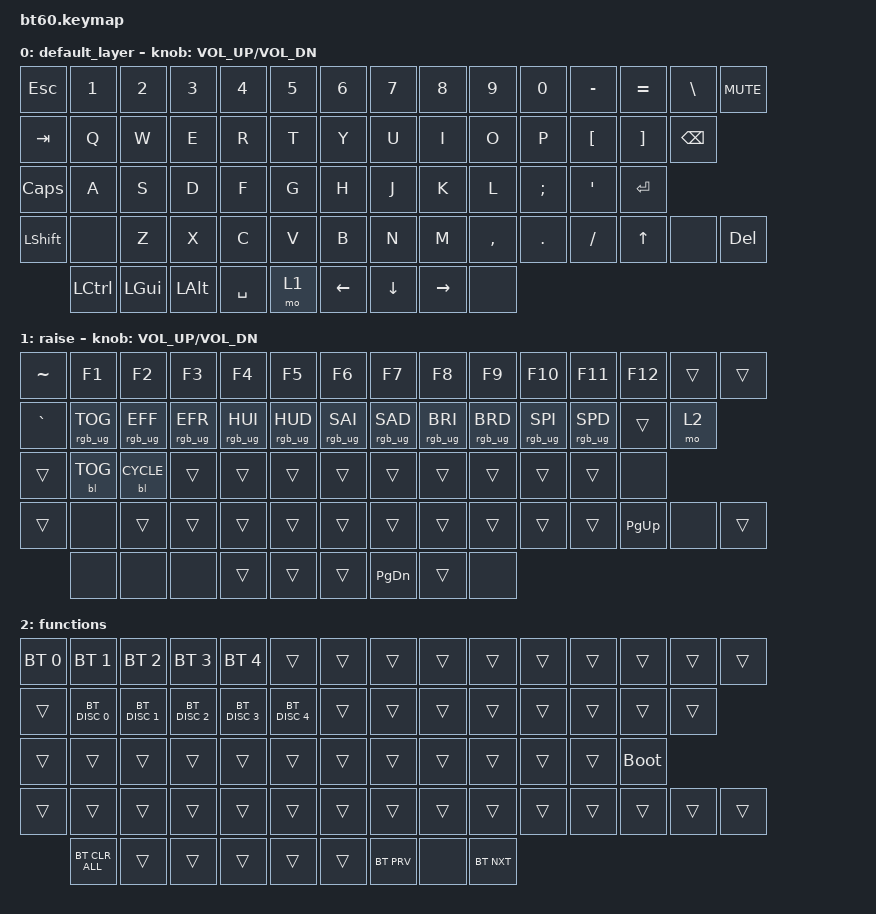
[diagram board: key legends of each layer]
#include <behaviors.dtsi>
#include <dt-bindings/zmk/backlight.h>
#include <dt-bindings/zmk/bt.h>
#include <dt-bindings/zmk/keys.h>
#include <dt-bindings/zmk/rgb.h>

/ {
    keymap {
        compatible = "zmk,keymap";

        default_layer {
            // ------------------------------------------------------------------------------------------
            // | ESC |  1  |  2  |  3  |  4  |  5  |  6  |  7  |  8  |  9  |  0  |  -  |  =  |BKSP | DEL |
            // | TAB  |  Q  |  W  |  E  |  R  |  T  |  Y  |  U  |  I  |  O  |  P  |  [  |  ]  |  |   |
            // | CAPS  |  A  |  S  |  D  |  F  |  G  |  H  |  J  |  K  |  L  |  ;  |  '  |     ENTER    |
            // |  SHIFT|NONE|  Z  |  X  |  C  |  V  |  B  |  N  |  M  |  ,  |  .  | /   | SHFT | UP | 1  |
            // |  CTL  |  WIN  |  ALT  |            SPACE              | ALT | CTRL | LEFT | DOWN | RIGHT |
            // ------------------------------------------------------------------------------------------

            bindings = <
&kp ESC    &kp N1     &kp N2    &kp N3    &kp N4     &kp N5  &kp N6    &kp N7    &kp N8     &kp N9     &kp N0    &kp MINUS  &kp EQUAL  &kp BACKSLASH  &kp C_MUTE
&kp TAB    &kp Q      &kp W     &kp E     &kp R      &kp T   &kp Y     &kp U     &kp I      &kp O      &kp P     &kp LBKT   &kp RBKT   &kp BSPC
&kp CLCK   &kp A      &kp S     &kp D     &kp F      &kp G   &kp H     &kp J     &kp K      &kp L      &kp SEMI  &kp SQT    &kp RET
&kp LSHFT  &none      &kp Z     &kp X     &kp C      &kp V   &kp B     &kp N     &kp M      &kp COMMA  &kp DOT   &kp FSLH   &kp UP     &none          &kp DEL
           &kp LCTRL  &kp LGUI  &kp LALT  &kp SPACE  &mo 1   &kp LEFT  &kp DOWN  &kp RIGHT  &none
            >;

            sensor-bindings = <&inc_dec_kp C_VOL_UP C_VOL_DN>;
        };

        raise {
            bindings = <
&kp TILDE  &kp F1           &kp F2           &kp F3           &kp F4           &kp F5           &kp F6           &kp F7           &kp F8           &kp F9           &kp F10          &kp F11          &kp F12      &trans  &trans
&kp GRAVE  &rgb_ug RGB_TOG  &rgb_ug RGB_EFF  &rgb_ug RGB_EFR  &rgb_ug RGB_HUI  &rgb_ug RGB_HUD  &rgb_ug RGB_SAI  &rgb_ug RGB_SAD  &rgb_ug RGB_BRI  &rgb_ug RGB_BRD  &rgb_ug RGB_SPI  &rgb_ug RGB_SPD  &trans       &mo 2
&trans     &bl BL_TOG       &bl BL_CYCLE     &trans           &trans           &trans           &trans           &trans           &trans           &trans           &trans           &trans           &none
&trans     &none            &trans           &trans           &trans           &trans           &trans           &trans           &trans           &trans           &trans           &trans           &kp PAGE_UP  &none   &trans
           &none            &none            &none            &trans           &trans           &trans           &kp PAGE_DOWN    &trans           &none
            >;

            sensor-bindings = <&inc_dec_kp C_VOL_UP C_VOL_DN>;
        };

        functions {
            bindings = <
&bt BT_SEL 0  &bt BT_SEL 1    &bt BT_SEL 2   &bt BT_SEL 3   &bt BT_SEL 4   &trans         &trans  &trans      &trans  &trans      &trans  &trans  &trans       &trans  &trans
&trans        &bt BT_DISC 0   &bt BT_DISC 1  &bt BT_DISC 2  &bt BT_DISC 3  &bt BT_DISC 4  &trans  &trans      &trans  &trans      &trans  &trans  &trans       &trans
&trans        &trans          &trans         &trans         &trans         &trans         &trans  &trans      &trans  &trans      &trans  &trans  &bootloader
&trans        &trans          &trans         &trans         &trans         &trans         &trans  &trans      &trans  &trans      &trans  &trans  &trans       &trans  &trans
              &bt BT_CLR_ALL  &trans         &trans         &trans         &trans         &trans  &bt BT_PRV  &none   &bt BT_NXT
            >;
        };
    };
};
